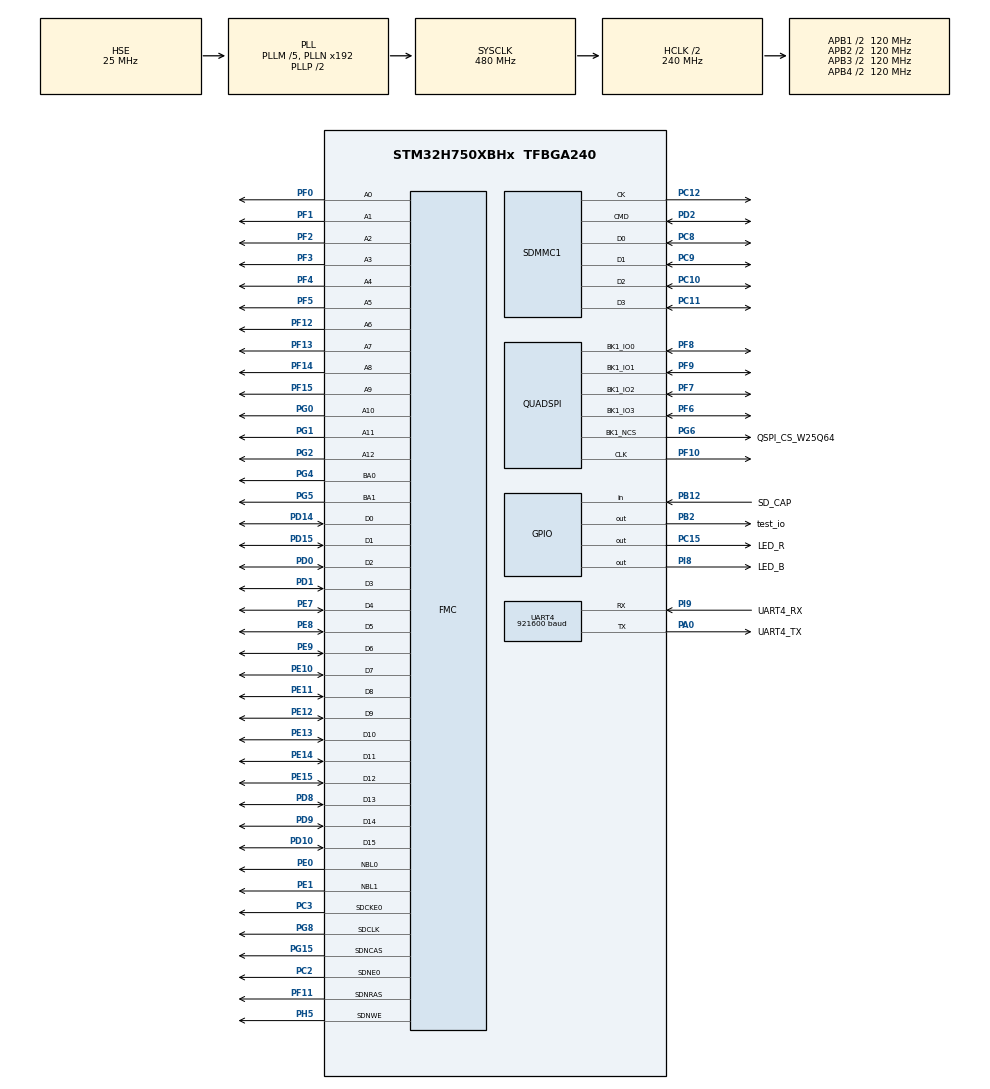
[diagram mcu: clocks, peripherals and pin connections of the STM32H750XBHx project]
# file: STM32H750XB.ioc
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CORTEX_M7.CPU_DCache=Enabled
CORTEX_M7.CPU_ICache=Enabled
CORTEX_M7.default_mode_Activation=0
CRC.DefaultInitValueUse=DEFAULT_INIT_VALUE_DISABLE
CRC.DefaultPolynomialUse=DEFAULT_POLYNOMIAL_ENABLE
CRC.InitValue=0xFFFFFFFF
CRC.InputDataInversionMode=CRC_INPUTDATA_INVERSION_BYTE
CRC.OutputDataInversionMode=CRC_OUTPUTDATA_INVERSION_ENABLE
FATFS.BSP.number=1
FATFS.USE_DMA_CODE_SD=0
FATFS._CODE_PAGE=437
FATFS._USE_LFN=3
FATFS0.BSP.STBoard=false
FATFS0.BSP.api=Unknown
FATFS0.BSP.instance=PB12
FATFS0.BSP.ip=GPIO
FATFS0.BSP.mode=Input
FATFS0.BSP.name=Detect_SDIO
FATFS0.BSP.solution=PB12
FMC.CASLatency1=FMC_SDRAM_CAS_LATENCY_2
FMC.ColumnBitsNumber1=FMC_SDRAM_COLUMN_BITS_NUM_9
FMC.SDClockPeriod1=FMC_SDRAM_CLOCK_PERIOD_2
Mcu.Family=STM32H7
Mcu.Name=STM32H750XBHx
Mcu.Package=TFBGA240
NVIC.PriorityGroup=NVIC_PRIORITYGROUP_4
PA0.GPIO_Label=UART4_TX
PA0.GPIO_Speed=GPIO_SPEED_FREQ_VERY_HIGH
PA0.Mode=Asynchronous
PA0.Signal=UART4_TX
PB12.GPIO_Label=SD_CAP
PB12.GPIO_PuPd=GPIO_PULLDOWN
PB12.Signal=GPIO_Input
PB2.GPIO_Label=test_io
PB2.GPIO_PuPd=GPIO_PULLDOWN
PB2.GPIO_Speed=GPIO_SPEED_FREQ_VERY_HIGH
PB2.Signal=GPIO_Output
PC10.Mode=SD_4_bits_Wide_bus
PC10.Signal=SDMMC1_D2
PC11.Mode=SD_4_bits_Wide_bus
PC11.Signal=SDMMC1_D3
PC12.Mode=SD_4_bits_Wide_bus
PC12.Signal=SDMMC1_CK
PC15-OSC32_OUT\ (OSC32_OUT).GPIO_Label=LED_R
PC15-OSC32_OUT\ (OSC32_OUT).GPIO_PuPd=GPIO_PULLUP
PC15-OSC32_OUT\ (OSC32_OUT).PinState=GPIO_PIN_SET
PC15-OSC32_OUT\ (OSC32_OUT).Signal=GPIO_Output
PC2.Mode=SdramChipSelect1_1
PC2.Signal=FMC_SDNE0
PC3.Mode=SdramChipSelect1_1
PC3.Signal=FMC_SDCKE0
PC8.Mode=SD_4_bits_Wide_bus
PC8.Signal=SDMMC1_D0
PC9.Mode=SD_4_bits_Wide_bus
PC9.Signal=SDMMC1_D1
PD0.Signal=FMC_D2_DA2
PD1.Signal=FMC_D3_DA3
PD10.Signal=FMC_D15_DA15
PD14.Signal=FMC_D0_DA0
PD15.Signal=FMC_D1_DA1
PD2.Mode=SD_4_bits_Wide_bus
PD2.Signal=SDMMC1_CMD
PD8.Signal=FMC_D13_DA13
PD9.Signal=FMC_D14_DA14
PE0.Signal=FMC_NBL0
PE1.Signal=FMC_NBL1
PE10.Signal=FMC_D7_DA7
PE11.Signal=FMC_D8_DA8
PE12.Signal=FMC_D9_DA9
PE13.Signal=FMC_D10_DA10
PE14.Signal=FMC_D11_DA11
PE15.Signal=FMC_D12_DA12
PE7.Signal=FMC_D4_DA4
PE8.Signal=FMC_D5_DA5
PE9.Signal=FMC_D6_DA6
PF0.Signal=FMC_A0
PF1.Signal=FMC_A1
PF10.GPIO_Speed=GPIO_SPEED_FREQ_VERY_HIGH
PF10.Mode=Single Bank 1
PF10.Signal=QUADSPI_CLK
PF11.Signal=FMC_SDNRAS
PF12.Signal=FMC_A6
PF13.Signal=FMC_A7
PF14.Signal=FMC_A8
PF15.Signal=FMC_A9
PF2.Signal=FMC_A2
PF3.Signal=FMC_A3
PF4.Signal=FMC_A4
PF5.Signal=FMC_A5
PF6.GPIO_Speed=GPIO_SPEED_FREQ_VERY_HIGH
PF6.Mode=Single Bank 1
PF6.Signal=QUADSPI_BK1_IO3
PF7.GPIO_Speed=GPIO_SPEED_FREQ_VERY_HIGH
PF7.Mode=Single Bank 1
PF7.Signal=QUADSPI_BK1_IO2
PF8.GPIO_Speed=GPIO_SPEED_FREQ_VERY_HIGH
PF8.Mode=Single Bank 1
PF8.Signal=QUADSPI_BK1_IO0
PF9.GPIO_Speed=GPIO_SPEED_FREQ_VERY_HIGH
PF9.Mode=Single Bank 1
PF9.Signal=QUADSPI_BK1_IO1
PG0.Signal=FMC_A10
PG1.Signal=FMC_A11
PG15.Signal=FMC_SDNCAS
PG2.Signal=FMC_A12
PG4.Signal=FMC_A14_BA0
PG5.Signal=FMC_A15_BA1
PG6.GPIO_Label=QSPI_CS_W25Q64
PG6.GPIO_PuPd=GPIO_PULLUP
PG6.GPIO_Speed=GPIO_SPEED_FREQ_VERY_HIGH
PG6.Mode=Single Bank 1
PG6.Signal=QUADSPI_BK1_NCS
PG8.Signal=FMC_SDCLK
PH0-OSC_IN\ (PH0).Mode=HSE-External-Oscillator
PH0-OSC_IN\ (PH0).Signal=RCC_OSC_IN
PH1-OSC_OUT\ (PH1).Mode=HSE-External-Oscillator
PH1-OSC_OUT\ (PH1).Signal=RCC_OSC_OUT
PH5.GPIO_PuPd=GPIO_PULLDOWN
PH5.Signal=FMC_SDNWE
PI8.GPIO_Label=LED_B
PI8.Signal=GPIO_Output
PI9.GPIO_Label=UART4_RX
PI9.GPIO_Speed=GPIO_SPEED_FREQ_VERY_HIGH
PI9.Mode=Asynchronous
PI9.Signal=UART4_RX
ProjectManager.HeapSize=0x800
ProjectManager.StackSize=0x800
ProjectManager.TargetToolchain=MDK-ARM V5.27
QUADSPI.ChipSelectHighTime=QSPI_CS_HIGH_TIME_1_CYCLE
QUADSPI.ClockMode=QSPI_CLOCK_MODE_0
QUADSPI.ClockPrescaler=5
QUADSPI.FifoThreshold=4
QUADSPI.FlashSize=22
RCC.ADCFreq_Value=50000000
RCC.APB1Freq_Value=120000000
RCC.APB2Freq_Value=120000000
RCC.APB3Freq_Value=120000000
RCC.APB4Freq_Value=120000000
RCC.CortexFreq_Value=480000000
RCC.D1PPRE=RCC_APB3_DIV2
RCC.D2PPRE1=RCC_APB1_DIV2
RCC.D2PPRE2=RCC_APB2_DIV2
RCC.D3PPRE=RCC_APB4_DIV2
RCC.DIVM1=5
RCC.DIVM2=2
RCC.DIVM3=5
RCC.DIVN1=192
RCC.DIVN2=16
RCC.DIVN3=50
RCC.DIVP2=4
RCC.DIVP3=1
RCC.DIVQ1=4
RCC.DIVQ2=1
RCC.DIVQ3=5
RCC.DIVR3=10
RCC.FMCCLockSelection=RCC_FMCCLKSOURCE_PLL
RCC.HCLKFreq_Value=240000000
RCC.HPRE=RCC_HCLK_DIV2
RCC.PLL2FRACN=0
RCC.PLLFRACN=0
RCC.PLLSourceVirtual=RCC_PLLSOURCE_HSE
RCC.ProductRev=revV
RCC.SDMMC1CLockSelection=RCC_SDMMCCLKSOURCE_PLL2
RCC.SPI123CLockSelection=RCC_SPI123CLKSOURCE_PLL2
RCC.SYSCLKFreq_VALUE=480000000
RCC.SYSCLKSource=RCC_SYSCLKSOURCE_PLLCLK
RCC.USBCLockSelection=RCC_USBCLKSOURCE_PLL3
RCC.USBFreq_Value=50000000
SDMMC1.ClockDiv=2
SH.FMC_A0.0=FMC_A0,13b-sda1
SH.FMC_A1.0=FMC_A1,13b-sda1
SH.FMC_A10.0=FMC_A10,13b-sda1
SH.FMC_A11.0=FMC_A11,13b-sda1
SH.FMC_A12.0=FMC_A12,13b-sda1
SH.FMC_A14_BA0.0=FMC_BA0,FourSdramBanks1
SH.FMC_A15_BA1.0=FMC_BA1,FourSdramBanks1
SH.FMC_A2.0=FMC_A2,13b-sda1
SH.FMC_A3.0=FMC_A3,13b-sda1
SH.FMC_A4.0=FMC_A4,13b-sda1
SH.FMC_A5.0=FMC_A5,13b-sda1
SH.FMC_A6.0=FMC_A6,13b-sda1
SH.FMC_A7.0=FMC_A7,13b-sda1
SH.FMC_A8.0=FMC_A8,13b-sda1
SH.FMC_A9.0=FMC_A9,13b-sda1
SH.FMC_D0_DA0.0=FMC_D0,sd-16b-d1
SH.FMC_D10_DA10.0=FMC_D10,sd-16b-d1
SH.FMC_D11_DA11.0=FMC_D11,sd-16b-d1
SH.FMC_D12_DA12.0=FMC_D12,sd-16b-d1
SH.FMC_D13_DA13.0=FMC_D13,sd-16b-d1
SH.FMC_D14_DA14.0=FMC_D14,sd-16b-d1
SH.FMC_D15_DA15.0=FMC_D15,sd-16b-d1
SH.FMC_D1_DA1.0=FMC_D1,sd-16b-d1
SH.FMC_D2_DA2.0=FMC_D2,sd-16b-d1
SH.FMC_D3_DA3.0=FMC_D3,sd-16b-d1
SH.FMC_D4_DA4.0=FMC_D4,sd-16b-d1
SH.FMC_D5_DA5.0=FMC_D5,sd-16b-d1
SH.FMC_D6_DA6.0=FMC_D6,sd-16b-d1
SH.FMC_D7_DA7.0=FMC_D7,sd-16b-d1
SH.FMC_D8_DA8.0=FMC_D8,sd-16b-d1
SH.FMC_D9_DA9.0=FMC_D9,sd-16b-d1
SH.FMC_NBL0.0=FMC_NBL0,Sd2ByteEnable1
SH.FMC_NBL1.0=FMC_NBL1,Sd2ByteEnable1
SH.FMC_SDCLK.0=FMC_SDCLK,13b-sda1
SH.FMC_SDNCAS.0=FMC_SDNCAS,13b-sda1
SH.FMC_SDNRAS.0=FMC_SDNRAS,13b-sda1
SH.FMC_SDNWE.0=FMC_SDNWE,13b-sda1
UART4.BaudRate=921600
VP_CRC_VS_CRC.Mode=CRC_Activate
VP_FATFS_VS_SDIO.Mode=SDIO
board=custom

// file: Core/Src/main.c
/* USER CODE BEGIN Header */
/**
  ******************************************************************************
  * @file           : main.c
  * @brief          : Main program body
  ******************************************************************************
  * @attention
  *
  * Copyright (c) 2023 STMicroelectronics.
  * All rights reserved.
  *
  * This software is licensed under terms that can be found in the LICENSE file
  * in the root directory of this software component.
  * If no LICENSE file comes with this software, it is provided AS-IS.
  *
  ******************************************************************************
  */
/* USER CODE END Header */
#include "main.h"
#include "crc.h"
#include "fatfs.h"
#include "quadspi.h"
#include "sdmmc.h"
#include "usart.h"
#include "gpio.h"
#include "fmc.h"

/* USER CODE BEGIN Includes */
#include <string.h>
#include "boot.h"
#include "shell.h"
#include "bsp_usart.h"
#include "bsp_sdram.h"

/* USER CODE END Includes */

void SystemClock_Config(void);

/* USER CODE BEGIN 0 */

void  get_clock(void){
 uint32_t GetSysClockFreq =  HAL_RCC_GetSysClockFreq();
 uint32_t GetHCLKFreq     =  HAL_RCC_GetHCLKFreq();
 uint32_t GetPCLK1Freq    =  HAL_RCC_GetPCLK1Freq();
 uint32_t PCLK2Freq       =  HAL_RCC_GetPCLK2Freq();
 printf("SysClockFreq = %uHZ\r\n",GetSysClockFreq);
 printf("HCLKFreq     = %uHZ\r\n",GetHCLKFreq);
 printf("PCLK1Freq    = %uHZ\r\n",GetPCLK1Freq);
 printf("PCLK2Freq    = %uHZ\r\n",PCLK2Freq);
}

//读取芯片ID
void GetChipID ( void )
{
    uint32_t CpuID[3];							//小端模式
    CpuID[0] = * ( __IO uint32_t * ) ( 0x1FF1E800 ); //高32位地址
    CpuID[1] = * ( __IO uint32_t * ) ( 0x1FF1E800+0X4 ); //中32位地址
    CpuID[2] = * ( __IO uint32_t * ) ( 0x1FF1E800+0X8 ); //低32位地址
    printf ( "chip id is：0x%x-%x-%x \r\n", CpuID[0], CpuID[1], CpuID[2] );
}
//获取芯片Flash大小
void GetFlashSize ( void )
{
    uint16_t stm32_Flash_Size;
    stm32_Flash_Size = * ( uint16_t * ) ( 0x1FF1E880 ); //闪存容量寄存器
	printf ( "chip flash is: %x \r\n", stm32_Flash_Size );
}

// 清除内存块
void clearMemory(void *startAddress, size_t size) {
    memset(startAddress, 0, size);
}

/* USER CODE END 0 */

int main(void)
{

  /* Enable I-Cache---------------------------------------------------------*/
  SCB_EnableICache();

  /* Enable D-Cache---------------------------------------------------------*/
  SCB_EnableDCache();

  /* MCU Configuration--------------------------------------------------------*/

  /* Reset of all peripherals, Initializes the Flash interface and the Systick. */
  HAL_Init();

  /* Configure the system clock */
  SystemClock_Config();

  /* Initialize all configured peripherals */
  MX_GPIO_Init();
  MX_UART4_Init();
  MX_QUADSPI_Init();
  MX_SDMMC1_SD_Init();
  MX_FATFS_Init();
  MX_FMC_Init();
  MX_CRC_Init();
  /* USER CODE BEGIN 2 */
//  jump_to_qspi_flash();
	putstr("\r\nbootloader\r\n");
	get_clock();
	GetChipID();
	GetFlashSize();
	bsp_sdram_init();
//	uint32_t *memoryStartAddress = (uint32_t *)0x24000000;  // 0x24000000
//  size_t memorySize = ;  // 20KB
//  clearMemory(memoryStartAddress, memorySize); // 清除内存块
	// 数据起始地址

	 shell();

  /* USER CODE END 2 */

  /* Infinite loop */
  while (1)
  {

  }
}

void SystemClock_Config(void)
{
  RCC_OscInitTypeDef RCC_OscInitStruct = {0};
  RCC_ClkInitTypeDef RCC_ClkInitStruct = {0};

  /** Supply configuration update enable
  */
  HAL_PWREx_ConfigSupply(PWR_LDO_SUPPLY);

  /** Configure the main internal regulator output voltage
  */
  __HAL_PWR_VOLTAGESCALING_CONFIG(PWR_REGULATOR_VOLTAGE_SCALE1);

  while(!__HAL_PWR_GET_FLAG(PWR_FLAG_VOSRDY)) {}

  __HAL_RCC_SYSCFG_CLK_ENABLE();
  __HAL_PWR_VOLTAGESCALING_CONFIG(PWR_REGULATOR_VOLTAGE_SCALE0);

  while(!__HAL_PWR_GET_FLAG(PWR_FLAG_VOSRDY)) {}

  /** Initializes the RCC Oscillators according to the specified parameters
  * in the RCC_OscInitTypeDef structure.
  */
  RCC_OscInitStruct.OscillatorType = RCC_OSCILLATORTYPE_HSE;
  RCC_OscInitStruct.HSEState = RCC_HSE_ON;
  RCC_OscInitStruct.PLL.PLLState = RCC_PLL_ON;
  RCC_OscInitStruct.PLL.PLLSource = RCC_PLLSOURCE_HSE;
  RCC_OscInitStruct.PLL.PLLM = 5;
  RCC_OscInitStruct.PLL.PLLN = 192;
  RCC_OscInitStruct.PLL.PLLP = 2;
  RCC_OscInitStruct.PLL.PLLQ = 4;
  RCC_OscInitStruct.PLL.PLLR = 2;
  RCC_OscInitStruct.PLL.PLLRGE = RCC_PLL1VCIRANGE_2;
  RCC_OscInitStruct.PLL.PLLVCOSEL = RCC_PLL1VCOWIDE;
  RCC_OscInitStruct.PLL.PLLFRACN = 0;
  if (HAL_RCC_OscConfig(&RCC_OscInitStruct) != HAL_OK)
  {
    Error_Handler();
  }

  /** Initializes the CPU, AHB and APB buses clocks
  */
  RCC_ClkInitStruct.ClockType = RCC_CLOCKTYPE_HCLK|RCC_CLOCKTYPE_SYSCLK
                              |RCC_CLOCKTYPE_PCLK1|RCC_CLOCKTYPE_PCLK2
                              |RCC_CLOCKTYPE_D3PCLK1|RCC_CLOCKTYPE_D1PCLK1;
  RCC_ClkInitStruct.SYSCLKSource = RCC_SYSCLKSOURCE_PLLCLK;
  RCC_ClkInitStruct.SYSCLKDivider = RCC_SYSCLK_DIV1;
  RCC_ClkInitStruct.AHBCLKDivider = RCC_HCLK_DIV2;
  RCC_ClkInitStruct.APB3CLKDivider = RCC_APB3_DIV2;
  RCC_ClkInitStruct.APB1CLKDivider = RCC_APB1_DIV2;
  RCC_ClkInitStruct.APB2CLKDivider = RCC_APB2_DIV2;
  RCC_ClkInitStruct.APB4CLKDivider = RCC_APB4_DIV2;

  if (HAL_RCC_ClockConfig(&RCC_ClkInitStruct, FLASH_LATENCY_4) != HAL_OK)
  {
    Error_Handler();
  }
}

void Error_Handler(void)
{
  __disable_irq();
  while (1)
  {
  }
}
